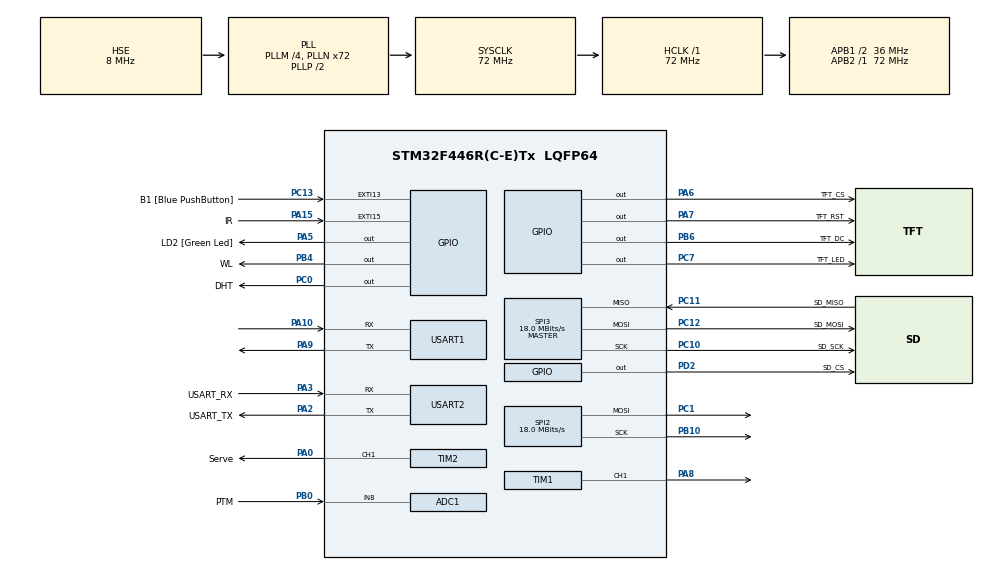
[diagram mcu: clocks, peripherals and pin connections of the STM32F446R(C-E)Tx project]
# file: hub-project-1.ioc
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ADC1.Channel-0\#ChannelRegularConversion=ADC_CHANNEL_8
ADC1.NbrOfConversionFlag=1
ADC1.Rank-0\#ChannelRegularConversion=1
ADC1.SamplingTime-0\#ChannelRegularConversion=ADC_SAMPLETIME_3CYCLES
ADC1.master=1
Dma.Request0=TIM1_CH1
Dma.TIM1_CH1.0.Direction=DMA_MEMORY_TO_PERIPH
Dma.TIM1_CH1.0.FIFOMode=DMA_FIFOMODE_DISABLE
Dma.TIM1_CH1.0.Instance=DMA2_Stream1
Dma.TIM1_CH1.0.MemDataAlignment=DMA_MDATAALIGN_HALFWORD
Dma.TIM1_CH1.0.MemInc=DMA_MINC_ENABLE
Dma.TIM1_CH1.0.Mode=DMA_NORMAL
Dma.TIM1_CH1.0.PeriphDataAlignment=DMA_PDATAALIGN_HALFWORD
Dma.TIM1_CH1.0.PeriphInc=DMA_PINC_DISABLE
Dma.TIM1_CH1.0.Priority=DMA_PRIORITY_LOW
FATFS._FS_REENTRANT=0
FATFS._MAX_SS=4096
FATFS._USE_LFN=2
FATFS._USE_MUTEX=1
FREERTOS.Tasks01=defaultTask,32,1024,StartDefaultTask,Default,NULL,Dynamic,NULL,NULL;ServerTask,8,1024,StartServerTask,Default,NULL,Dynamic,NULL,NULL;DHTTask,24,1024,StartDHT,Default,NULL,Dynamic,NULL,NULL;LCDTask,16,1024,StartLCDTask,Default,NULL,Static,LCDTaskBuffer,LCDTaskControlBlock
FREERTOS.configUSE_NEWLIB_REENTRANT=1
Infineon.AIROC-Wi-Fi-Bluetooth-STM32.1.5.1.COUNTRY_CUSTOM_ENABLE=false
Infineon.AIROC-Wi-Fi-Bluetooth-STM32.1.5.1.CYBSP_WIFI_WL_REG_ON=USART1
Infineon.AIROC-Wi-Fi-Bluetooth-STM32.1.5.1.CY_WIFI_COUNTRY=WHD_COUNTRY_UNITED_STATES
Mcu.Family=STM32F4
Mcu.Name=STM32F446R(C-E)Tx
Mcu.Package=LQFP64
NVIC.DMA2_Stream1_IRQn=true\:5\:0\:false\:false\:true\:true\:false\:true\:true
NVIC.EXTI15_10_IRQn=true\:5\:0\:false\:false\:true\:true\:true\:true\:true
NVIC.PriorityGroup=NVIC_PRIORITYGROUP_4
NVIC.TIM5_IRQn=true\:15\:0\:false\:false\:true\:false\:false\:true\:true
NVIC.TimeBase=TIM5_IRQn
NVIC.TimeBaseIP=TIM5
NVIC.USART1_IRQn=true\:5\:0\:false\:false\:true\:true\:true\:true\:true
NVIC.USART2_IRQn=true\:5\:0\:false\:false\:true\:true\:true\:true\:true
PA0-WKUP.GPIO_Label=Serve
PA0-WKUP.Signal=S_TIM2_CH1_ETR
PA10.Mode=Asynchronous
PA10.Signal=USART1_RX
PA13.GPIO_Label=TMS
PA13.Mode=Serial_Wire
PA13.Signal=SYS_JTMS-SWDIO
PA14.GPIO_Label=TCK
PA14.Mode=Serial_Wire
PA14.Signal=SYS_JTCK-SWCLK
PA15.GPIO_Label=IR
PA15.GPIO_ModeDefaultEXTI=GPIO_MODE_IT_FALLING
PA15.Signal=GPXTI15
PA2.GPIO_Label=USART_TX
PA2.Mode=Asynchronous
PA2.Signal=USART2_TX
PA3.GPIO_Label=USART_RX
PA3.Mode=Asynchronous
PA3.Signal=USART2_RX
PA5.GPIO_Label=LD2 [Green Led]
PA5.GPIO_PuPd=GPIO_NOPULL
PA5.Signal=GPIO_Output
PA6.GPIO_Label=TFT_CS
PA6.GPIO_PuPd=GPIO_PULLUP
PA6.Signal=GPIO_Output
PA7.GPIO_Label=TFT_RST
PA7.GPIO_PuPd=GPIO_PULLUP
PA7.Signal=GPIO_Output
PA8.Signal=S_TIM1_CH1
PA9.Mode=Asynchronous
PA9.Signal=USART1_TX
PB0.GPIO_Label=PTM
PB0.Signal=SharedAnalog_PB0
PB10.Mode=TX_Only_Simplex_Unidirect_Master
PB10.Signal=SPI2_SCK
PB3.GPIO_Label=SWO
PB3.Signal=SYS_JTDO-SWO
PB4.GPIO_Label=WL
PB4.GPIO_PuPd=GPIO_PULLDOWN
PB4.PinState=GPIO_PIN_SET
PB4.Signal=GPIO_Output
PB6.GPIO_Label=TFT_DC
PB6.GPIO_PuPd=GPIO_PULLUP
PB6.Signal=GPIO_Output
PC0.GPIO_Label=DHT
PC0.Signal=GPIO_Output
PC1.Mode=TX_Only_Simplex_Unidirect_Master
PC1.Signal=SPI2_MOSI
PC10.GPIO_Label=SD_SCK
PC10.GPIO_PuPd=GPIO_PULLUP
PC10.Mode=Full_Duplex_Master
PC10.Signal=SPI3_SCK
PC11.GPIO_Label=SD_MISO
PC11.GPIO_PuPd=GPIO_PULLUP
PC11.Mode=Full_Duplex_Master
PC11.Signal=SPI3_MISO
PC12.GPIO_Label=SD_MOSI
PC12.GPIO_PuPd=GPIO_PULLUP
PC12.Mode=Full_Duplex_Master
PC12.Signal=SPI3_MOSI
PC13.GPIO_Label=B1 [Blue PushButton]
PC13.GPIO_ModeDefaultEXTI=GPIO_MODE_IT_FALLING
PC13.GPIO_PuPd=GPIO_NOPULL
PC13.Signal=GPXTI13
PC14-OSC32_IN.Mode=LSE-External-Oscillator
PC14-OSC32_IN.Signal=RCC_OSC32_IN
PC15-OSC32_OUT.Mode=LSE-External-Oscillator
PC15-OSC32_OUT.Signal=RCC_OSC32_OUT
PC7.GPIO_Label=TFT_LED
PC7.GPIO_PuPd=GPIO_PULLUP
PC7.Signal=GPIO_Output
PD2.GPIO_Label=SD_CS
PD2.GPIO_PuPd=GPIO_PULLUP
PD2.Signal=GPIO_Output
PH0-OSC_IN.Mode=HSE-External-Clock-Source
PH0-OSC_IN.Signal=RCC_OSC_IN
PH1-OSC_OUT.Mode=HSE-External-Clock-Source
PH1-OSC_OUT.Signal=RCC_OSC_OUT
ProjectManager.HeapSize=0x200
ProjectManager.StackSize=0x400
ProjectManager.TargetToolchain=STM32CubeIDE
RCC.48MHZClocksFreq_Value=84000000
RCC.AHBFreq_Value=72000000
RCC.APB1CLKDivider=RCC_HCLK_DIV2
RCC.APB1Freq_Value=36000000
RCC.APB1TimFreq_Value=72000000
RCC.APB2Freq_Value=72000000
RCC.APB2TimFreq_Value=72000000
RCC.CortexFreq_Value=72000000
RCC.FLatency-AdvancedSettings=FLASH_LATENCY_2
RCC.HCLKFreq_Value=72000000
RCC.HSE_VALUE=8000000
RCC.HSI_VALUE=16000000
RCC.PLLM=4
RCC.PLLN=72
RCC.PLLSourceVirtual=RCC_PLLSOURCE_HSE
RCC.SYSCLKFreq_VALUE=72000000
RCC.SYSCLKSource=RCC_SYSCLKSOURCE_PLLCLK
RCC.USBFreq_Value=72000000
RCC.VCOOutputFreq_Value=144000000
SH.S_TIM1_CH1.0=TIM1_CH1,PWM Generation1 CH1
SH.S_TIM2_CH1_ETR.0=TIM2_CH1,PWM Generation1 CH1
SH.SharedAnalog_PB0.0=GPIO_Analog
SH.SharedAnalog_PB0.1=ADC1_IN8,IN8
SPI2.BaudRatePrescaler=SPI_BAUDRATEPRESCALER_2
SPI2.CalculateBaudRate=18.0 MBits/s
SPI2.Direction=SPI_DIRECTION_2LINES
SPI2.Mode=SPI_MODE_MASTER
SPI2.VirtualType=VM_MASTER
SPI3.BaudRatePrescaler=SPI_BAUDRATEPRESCALER_2
SPI3.CLKPhase=SPI_PHASE_1EDGE
SPI3.CLKPolarity=SPI_POLARITY_LOW
SPI3.CalculateBaudRate=18.0 MBits/s
SPI3.Direction=SPI_DIRECTION_2LINES
SPI3.Mode=SPI_MODE_MASTER
SPI3.VirtualType=VM_MASTER
TIM1.Channel-PWM\ Generation1\ CH1=TIM_CHANNEL_1
TIM1.Period=90-1
TIM2.AutoReloadPreload=TIM_AUTORELOAD_PRELOAD_DISABLE
TIM2.Channel-PWM\ Generation1\ CH1=TIM_CHANNEL_1
TIM2.Period=1000
TIM2.Prescaler=1440
TIM4.Prescaler=71
TIM6.Prescaler=7200-1
TIM7.Prescaler=72-1
USART1.VirtualMode=VM_ASYNC
USART2.VirtualMode=VM_ASYNC
VP_FATFS_VS_Generic.Mode=User_defined
VP_FREERTOS_VS_CMSIS_V2.Mode=CMSIS_V2
VP_SYS_VS_tim5.Mode=TIM5
VP_TIM1_VS_ClockSourceINT.Mode=Internal
VP_TIM2_VS_ClockSourceINT.Mode=Internal
VP_TIM4_VS_ClockSourceINT.Mode=Internal
VP_TIM6_VS_ClockSourceINT.Mode=Enable_Timer
VP_TIM7_VS_ClockSourceINT.Mode=Enable_Timer
board=NUCLEO-F446RE

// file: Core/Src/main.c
/* USER CODE BEGIN Header */
/**
  ******************************************************************************
  * @file           : main.c
  * @brief          : Main program body
  ******************************************************************************
  * @attention
  *
  * Copyright (c) 2024 STMicroelectronics.
  * All rights reserved.
  *
  * This software is licensed under terms that can be found in the LICENSE file
  * in the root directory of this software component.
  * If no LICENSE file comes with this software, it is provided AS-IS.
  *
  ******************************************************************************
  */
/* USER CODE END Header */
#include "main.h"
#include "cmsis_os.h"
#include "fatfs.h"

/* USER CODE BEGIN Includes */
#include <stdio.h>
#include <stdlib.h>
#include <semphr.h>
#include <string.h>
#include <stdarg.h>

#include "dht22.h"
#include "WS2812B.h"
#include "st7735.h"
#include "fonts.h"
#include "qrcodegen.h"
#include "UartRingbuffer_multi.h"
#include "NEC_Decode.h"
#include "images.h"
#include "secrets.h"
/* USER CODE END Includes */

typedef StaticTask_t osStaticThreadDef_t;

/* USER CODE BEGIN PD */
#define PRINT_LOG(fmt, ...) {strcpy(buf, printf_(fmt, __VA_ARGS__)); f_puts(buf, &USERFile);}
/* USER CODE END PD */

ADC_HandleTypeDef hadc1;

SPI_HandleTypeDef hspi2;
SPI_HandleTypeDef hspi3;

TIM_HandleTypeDef htim1;
TIM_HandleTypeDef htim2;
TIM_HandleTypeDef htim4;
TIM_HandleTypeDef htim6;
TIM_HandleTypeDef htim7;
DMA_HandleTypeDef hdma_tim1_ch1;

UART_HandleTypeDef huart1;
UART_HandleTypeDef huart2;

/* Definitions for defaultTask */
osThreadId_t defaultTaskHandle;
const osThreadAttr_t defaultTask_attributes = {
  .name = "defaultTask",
  .stack_size = 1024 * 4,
  .priority = (osPriority_t) osPriorityAboveNormal,
};
/* Definitions for ServerTask */
osThreadId_t ServerTaskHandle;
const osThreadAttr_t ServerTask_attributes = {
  .name = "ServerTask",
  .stack_size = 1024 * 4,
  .priority = (osPriority_t) osPriorityLow,
};
/* Definitions for DHTTask */
osThreadId_t DHTTaskHandle;
const osThreadAttr_t DHTTask_attributes = {
  .name = "DHTTask",
  .stack_size = 1024 * 4,
  .priority = (osPriority_t) osPriorityNormal,
};
/* Definitions for LCDTask */
osThreadId_t LCDTaskHandle;
uint32_t LCDTaskBuffer[ 1024 ];
osStaticThreadDef_t LCDTaskControlBlock;
const osThreadAttr_t LCDTask_attributes = {
  .name = "LCDTask",
  .cb_mem = &LCDTaskControlBlock,
  .cb_size = sizeof(LCDTaskControlBlock),
  .stack_mem = &LCDTaskBuffer[0],
  .stack_size = sizeof(LCDTaskBuffer),
  .priority = (osPriority_t) osPriorityBelowNormal,
};
/* USER CODE BEGIN PV */
#define ESP_MODE 0

uint8_t LED_Data[LED_MAX][4];
uint8_t LED_Mod[LED_MAX][4];

int datasentflag = 0;

uint16_t pwmData[(24*LED_MAX)+50];

bool screen_state;

bool led = false;
char buf[256];

SemaphoreHandle_t sem1;

float tCelsius, tFahrenheit, RH;

NEC nec;
bool nec_ready = false;

#define QR_TEXT_COUNT 3
uint8_t qr_text_counter = 0;
const char* qr_texts[QR_TEXT_COUNT] = {IP,
#if ESP_MODE == 2
  WIFI_CON
#else
  HOTSPOT_CON
#endif
};
uint8_t qrcode[qrcodegen_BUFFER_LEN_MAX];
uint8_t tempBuffer[qrcodegen_BUFFER_LEN_MAX];
/* USER CODE END PV */

void SystemClock_Config(void);
static void MX_GPIO_Init(void);
static void MX_DMA_Init(void);
static void MX_USART2_UART_Init(void);
static void MX_USART1_UART_Init(void);
static void MX_TIM1_Init(void);
static void MX_SPI2_Init(void);
static void MX_TIM4_Init(void);
static void MX_TIM6_Init(void);
static void MX_TIM7_Init(void);
static void MX_ADC1_Init(void);
static void MX_TIM2_Init(void);
static void MX_SPI3_Init(void);
void StartDefaultTask(void *argument);
void StartServerTask(void *argument);
void StartDHT(void *argument);
void StartLCDTask(void *argument);

/* USER CODE BEGIN 0 */
const char* printf_(const char *fmt, ...) {
  static char buffer[256];
  va_list args;
  va_start(args, fmt);
  vsnprintf(buffer, sizeof(buffer), fmt, args);
  va_end(args);
  int len = strlen(buffer);
  HAL_UART_Transmit(&huart2, (uint8_t*)buffer, len, -1);
  return buffer;
}

void drawSquare(uint8_t x, uint8_t y, uint8_t _x, uint8_t _y, uint8_t multiplier, bool state) {
  for(int i = 0; i<multiplier; i++) {
    for(int j = 0; j<multiplier; j++) {
      if(!state) ST7735_DrawPixel(_x + x * multiplier + j, _y + y * multiplier + i, ST7735_WHITE);
    }
  }
}

static void printQr(uint8_t _x, uint8_t _y, const uint8_t qrcode[], uint8_t multiplier) {
  int size = qrcodegen_getSize(qrcode);
  for (int y = 0; y < size+2; y++) {
    for (int x = 0; x < size+2; x++) {
      bool state_cond = qrcodegen_getModule(qrcode, x-1, y-1);
      drawSquare(x, y, _x, _y, multiplier, state_cond);
    }
  }
}

void textToQrCode(uint8_t x, uint8_t y, const char* text, uint8_t multiplier) {
  enum qrcodegen_Ecc errCorLvl = qrcodegen_Ecc_LOW;  // Error correction level

  // Make and print the QR Code symbol
  bool ok = qrcodegen_encodeText(text, tempBuffer, qrcode, errCorLvl,
    qrcodegen_VERSION_MIN, qrcodegen_VERSION_MAX, qrcodegen_Mask_AUTO, true);
  if (ok)
    printQr(x, y, qrcode, multiplier);
}

void IR_SingnalReceive();

void HAL_GPIO_EXTI_Callback(uint16_t GPIO_Pin)
{
  if(GPIO_Pin == B1_Pin) {
    screen_state = !screen_state;
    if(screen_state) {
      ST7735_Backlight_On();
      ST7735_FillRectangle(0, 64, 128, 64, ST7735_BLACK);
      // textToQrCode(16, 64, qr_texts[qr_text_counter], 2);
    }
    else ST7735_Backlight_Off();
    printf_("Screen change state\n\r");
  }
}

void HAL_TIM_PWM_PulseFinishedCallback(TIM_HandleTypeDef *htim) {
  if(htim == &htim1) {
    HAL_TIMEx_PWMN_Stop_DMA(htim, TIM_CHANNEL_1);
    datasentflag = 1;
  }
}

void DelayMS(uint16_t ms) {
  __HAL_TIM_SetCounter(&htim6, 0);
  HAL_TIM_Base_Start(&htim6);
  while (__HAL_TIM_GetCounter(&htim6) < ms*10);
  HAL_TIM_Base_Stop(&htim6);
}

void DelayUS(uint16_t us) {
  __HAL_TIM_SetCounter(&htim7, 0);
  HAL_TIM_Base_Start(&htim7);
  while (__HAL_TIM_GetCounter(&htim7) < us);
  HAL_TIM_Base_Stop(&htim7);
}

void NEC_Handle() {
  char nec_buf[100];
  if(nec_ready) {
    uint8_t cmd = NEC_GetCommand(&nec);
    ST7735_FillRectangle(0, 40, 127, 17, ST7735_BLACK);
    switch (cmd) {
      default:
        snprintf(nec_buf, 100, "cmd: %3d", NEC_GetCommand(&nec));
        ST7735_WriteString(0, 40, nec_buf, Font_11x18, ST7735_GREEN, ST7735_BLACK);
        break;
      case 90:
        if(qr_text_counter == 0) qr_text_counter = QR_TEXT_COUNT-1;
        else qr_text_counter--;
        ST7735_FillRectangle(0, 64, 127, 63, ST7735_BLACK);
        if(qr_text_counter != 0) textToQrCode(16, 64, qr_texts[qr_text_counter-1], 2);
        break;
      case 91:
        qr_text_counter++;
        if(qr_text_counter == QR_TEXT_COUNT) qr_text_counter = 0;
        ST7735_FillRectangle(0, 64, 127, 63, ST7735_BLACK);
        if(qr_text_counter != 0) textToQrCode(16, 64, qr_texts[qr_text_counter-1], 2);
        break;
    }
    DelayMS(200);
    nec_ready = false;
  }
}

void adc_to_serve(uint16_t val) {
  static uint16_t last = 0;
  static bool first = true;
  if(first) {
    htim2.Instance->CCR1 = 25 + (val > 4000 ? 4000 : val) / 40;
    first = false;
  }
  if(abs(last - val) > 300) {
    htim2.Instance->CCR1 = 25 + (val > 4000 ? 4000 : val) / 40;
    last = val;
  }
}

const uint8_t* get_tardis(int p) {
  if(p < 0 || p > 5) return NULL;
  switch (p) {
    default:
    case 0:
      return tardis_64_1;
    case 1:
      return tardis_64_2;
    case 2:
      return tardis_64_3;
    case 3:
      return tardis_64_4;
    case 4:
      return tardis_64_5;
    case 5:
      return tardis_64_6;
  }
}

void set_tardis() {
  static bool forward = true;
  static int pos = -1;
  if(forward) {
    pos++;
  }
  else {
    pos--;
  }
  auto tardis = get_tardis(pos);
  if(tardis) ST7735_DrawImage(16, 64, TARDIS_64_W, TARDIS_64_H, tardis);
  if(pos == 5 && forward) {
    forward = !forward;
    pos++;
  }
  else if(pos == 0 && !forward) {
    forward = !forward;
    pos--;
  }
}
/* USER CODE END 0 */

int main(void)
{

  /* MCU Configuration--------------------------------------------------------*/

  /* Reset of all peripherals, Initializes the Flash interface and the Systick. */
  HAL_Init();

  /* Configure the system clock */
  SystemClock_Config();

  /* Initialize all configured peripherals */
  MX_GPIO_Init();
  MX_DMA_Init();
  MX_USART2_UART_Init();
  MX_USART1_UART_Init();
  MX_TIM1_Init();
  MX_SPI2_Init();
  MX_TIM4_Init();
  MX_TIM6_Init();
  MX_TIM7_Init();
  MX_ADC1_Init();
  MX_TIM2_Init();
  MX_FATFS_Init();
  MX_SPI3_Init();
  /* USER CODE BEGIN 2 */
  DHT_Init();
  printf_("\n\rController started\n\r");
#if ESP_MODE
  HAL_GPIO_WritePin(WL_GPIO_Port, WL_Pin, GPIO_PIN_SET);
#endif
#if ESP_MODE == 1
  ESP_Init_Server(WIFI_NAME, WIFI_PASS);
#elif ESP_MODE == 2
  ESP_Init_SoftAP(HOTSPOT_NAME, HOTSPOT_PASS);
#endif
  ST7735_Init();
  // Set_LED(0, 0, 0, 0);
  // Set_LED(1, 0, 0, 0);
  // Set_LED(2, 0, 0, 0);
  // Set_LED(59, 0, 0, 0);
  // Set_Brightness(2);
  // WS2812B_Send(&htim1);
  // PC_println("LED is on");

  ST7735_Backlight_On();
  ST7735_FillScreen(ST7735_BLACK);
  screen_state = true;
  // textToQrCode(16, 64, qr_texts[0], 2);
  set_tardis();
  set_tardis();
  set_tardis();
  printf_("ST7735S is on\n\r");

  NEC_Init(&nec);

  HAL_TIM_PWM_Start(&htim2, TIM_CHANNEL_1);

  FRESULT res;
  res = f_mount(&USERFatFS, "", 1);
  if(res) printf_("mount: %d\n\r", res);
  else {
    res = f_open(&USERFile, "/test.txt", FA_CREATE_ALWAYS | FA_WRITE);
    if(res) printf_("create: %d\n\r", res);
    else {
      char text[] = "test creation\n\r";
      f_puts(text, &USERFile);
      PRINT_LOG("Logging: %s", "hi!");
      printf_("\n\r");
      f_close(&USERFile);
    }
    res = f_open(&USERFile, "/test.txt", FA_READ);
    if(res) printf_("open: %d\n\r", res);
    else {
      const int fsize = f_size(&USERFile)+1;
      char text[fsize];
      uint32_t size;
      f_read(&USERFile, text, fsize, &size);
      f_close(&USERFile);
      text[size] = '\0';
      printf_("text: %s\n\r", text);
    }

    f_mount(NULL, "", 0);
  }
  /* USER CODE END 2 */

  /* Init scheduler */
  osKernelInitialize();

  /* USER CODE BEGIN RTOS_MUTEX */
  /* add mutexes, ... */
  HAL_Delay(100);
  sem1 = xSemaphoreCreateMutex();
  /* USER CODE END RTOS_MUTEX */

  /* Create the thread(s) */
  /* creation of defaultTask */
  defaultTaskHandle = osThreadNew(StartDefaultTask, NULL, &defaultTask_attributes);

  /* creation of ServerTask */
  ServerTaskHandle = osThreadNew(StartServerTask, NULL, &ServerTask_attributes);

  /* creation of DHTTask */
  DHTTaskHandle = osThreadNew(StartDHT, NULL, &DHTTask_attributes);

  /* creation of LCDTask */
  LCDTaskHandle = osThreadNew(StartLCDTask, NULL, &LCDTask_attributes);

  /* USER CODE BEGIN RTOS_THREADS */
  if(!defaultTaskHandle) printf_("default is null\n\r");
  if(!ServerTaskHandle) printf_("server is null\n\r");
  if(!DHTTaskHandle) printf_("dht is null\n\r");
  if(!LCDTaskHandle) printf_("lcd is null\n\r");
  /* add threads, ... */
  /* USER CODE END RTOS_THREADS */

  /* Start scheduler */
  osKernelStart();

  /* We should never get here as control is now taken by the scheduler */
  /* Infinite loop */
  while (1) {

  }
}

void SystemClock_Config(void)
{
  RCC_OscInitTypeDef RCC_OscInitStruct = {0};
  RCC_ClkInitTypeDef RCC_ClkInitStruct = {0};

  /** Configure the main internal regulator output voltage
  */
  __HAL_RCC_PWR_CLK_ENABLE();
  __HAL_PWR_VOLTAGESCALING_CONFIG(PWR_REGULATOR_VOLTAGE_SCALE3);

  /** Initializes the RCC Oscillators according to the specified parameters
  * in the RCC_OscInitTypeDef structure.
  */
  RCC_OscInitStruct.OscillatorType = RCC_OSCILLATORTYPE_HSE;
  RCC_OscInitStruct.HSEState = RCC_HSE_BYPASS;
  RCC_OscInitStruct.PLL.PLLState = RCC_PLL_ON;
  RCC_OscInitStruct.PLL.PLLSource = RCC_PLLSOURCE_HSE;
  RCC_OscInitStruct.PLL.PLLM = 4;
  RCC_OscInitStruct.PLL.PLLN = 72;
  RCC_OscInitStruct.PLL.PLLP = RCC_PLLP_DIV2;
  RCC_OscInitStruct.PLL.PLLQ = 2;
  RCC_OscInitStruct.PLL.PLLR = 2;
  if (HAL_RCC_OscConfig(&RCC_OscInitStruct) != HAL_OK)
  {
    Error_Handler();
  }

  /** Initializes the CPU, AHB and APB buses clocks
  */
  RCC_ClkInitStruct.ClockType = RCC_CLOCKTYPE_HCLK|RCC_CLOCKTYPE_SYSCLK
                              |RCC_CLOCKTYPE_PCLK1|RCC_CLOCKTYPE_PCLK2;
  RCC_ClkInitStruct.SYSCLKSource = RCC_SYSCLKSOURCE_PLLCLK;
  RCC_ClkInitStruct.AHBCLKDivider = RCC_SYSCLK_DIV1;
  RCC_ClkInitStruct.APB1CLKDivider = RCC_HCLK_DIV2;
  RCC_ClkInitStruct.APB2CLKDivider = RCC_HCLK_DIV1;

  if (HAL_RCC_ClockConfig(&RCC_ClkInitStruct, FLASH_LATENCY_2) != HAL_OK)
  {
    Error_Handler();
  }
}

static void MX_ADC1_Init(void)
{

  ADC_ChannelConfTypeDef sConfig = {0};

  /** Configure the global features of the ADC (Clock, Resolution, Data Alignment and number of conversion)
  */
  hadc1.Instance = ADC1;
  hadc1.Init.ClockPrescaler = ADC_CLOCK_SYNC_PCLK_DIV2;
  hadc1.Init.Resolution = ADC_RESOLUTION_12B;
  hadc1.Init.ScanConvMode = DISABLE;
  hadc1.Init.ContinuousConvMode = DISABLE;
  hadc1.Init.DiscontinuousConvMode = DISABLE;
  hadc1.Init.ExternalTrigConvEdge = ADC_EXTERNALTRIGCONVEDGE_NONE;
  hadc1.Init.ExternalTrigConv = ADC_SOFTWARE_START;
  hadc1.Init.DataAlign = ADC_DATAALIGN_RIGHT;
  hadc1.Init.NbrOfConversion = 1;
  hadc1.Init.DMAContinuousRequests = DISABLE;
  hadc1.Init.EOCSelection = ADC_EOC_SINGLE_CONV;
  if (HAL_ADC_Init(&hadc1) != HAL_OK)
  {
    Error_Handler();
  }

  /** Configure for the selected ADC regular channel its corresponding rank in the sequencer and its sample time.
  */
  sConfig.Channel = ADC_CHANNEL_8;
  sConfig.Rank = 1;
  sConfig.SamplingTime = ADC_SAMPLETIME_3CYCLES;
  if (HAL_ADC_ConfigChannel(&hadc1, &sConfig) != HAL_OK)
  {
    Error_Handler();
  }

}

static void MX_SPI2_Init(void)
{

  /* SPI2 parameter configuration*/
  hspi2.Instance = SPI2;
  hspi2.Init.Mode = SPI_MODE_MASTER;
  hspi2.Init.Direction = SPI_DIRECTION_2LINES;
  hspi2.Init.DataSize = SPI_DATASIZE_8BIT;
  hspi2.Init.CLKPolarity = SPI_POLARITY_LOW;
  hspi2.Init.CLKPhase = SPI_PHASE_1EDGE;
  hspi2.Init.NSS = SPI_NSS_SOFT;
  hspi2.Init.BaudRatePrescaler = SPI_BAUDRATEPRESCALER_2;
  hspi2.Init.FirstBit = SPI_FIRSTBIT_MSB;
  hspi2.Init.TIMode = SPI_TIMODE_DISABLE;
  hspi2.Init.CRCCalculation = SPI_CRCCALCULATION_DISABLE;
  hspi2.Init.CRCPolynomial = 10;
  if (HAL_SPI_Init(&hspi2) != HAL_OK)
  {
    Error_Handler();
  }

}

static void MX_SPI3_Init(void)
{

  /* SPI3 parameter configuration*/
  hspi3.Instance = SPI3;
  hspi3.Init.Mode = SPI_MODE_MASTER;
  hspi3.Init.Direction = SPI_DIRECTION_2LINES;
  hspi3.Init.DataSize = SPI_DATASIZE_8BIT;
  hspi3.Init.CLKPolarity = SPI_POLARITY_LOW;
  hspi3.Init.CLKPhase = SPI_PHASE_1EDGE;
  hspi3.Init.NSS = SPI_NSS_SOFT;
  hspi3.Init.BaudRatePrescaler = SPI_BAUDRATEPRESCALER_2;
  hspi3.Init.FirstBit = SPI_FIRSTBIT_MSB;
  hspi3.Init.TIMode = SPI_TIMODE_DISABLE;
  hspi3.Init.CRCCalculation = SPI_CRCCALCULATION_DISABLE;
  hspi3.Init.CRCPolynomial = 10;
  if (HAL_SPI_Init(&hspi3) != HAL_OK)
  {
    Error_Handler();
  }

}

static void MX_TIM1_Init(void)
{

  TIM_ClockConfigTypeDef sClockSourceConfig = {0};
  TIM_MasterConfigTypeDef sMasterConfig = {0};
  TIM_OC_InitTypeDef sConfigOC = {0};
  TIM_BreakDeadTimeConfigTypeDef sBreakDeadTimeConfig = {0};

  htim1.Instance = TIM1;
  htim1.Init.Prescaler = 0;
  htim1.Init.CounterMode = TIM_COUNTERMODE_UP;
  htim1.Init.Period = 90-1;
  htim1.Init.ClockDivision = TIM_CLOCKDIVISION_DIV1;
  htim1.Init.RepetitionCounter = 0;
  htim1.Init.AutoReloadPreload = TIM_AUTORELOAD_PRELOAD_DISABLE;
  if (HAL_TIM_Base_Init(&htim1) != HAL_OK)
  {
    Error_Handler();
  }
  sClockSourceConfig.ClockSource = TIM_CLOCKSOURCE_INTERNAL;
  if (HAL_TIM_ConfigClockSource(&htim1, &sClockSourceConfig) != HAL_OK)
  {
    Error_Handler();
  }
  if (HAL_TIM_PWM_Init(&htim1) != HAL_OK)
  {
    Error_Handler();
  }
  sMasterConfig.MasterOutputTrigger = TIM_TRGO_RESET;
  sMasterConfig.MasterSlaveMode = TIM_MASTERSLAVEMODE_DISABLE;
  if (HAL_TIMEx_MasterConfigSynchronization(&htim1, &sMasterConfig) != HAL_OK)
  {
    Error_Handler();
  }
  sConfigOC.OCMode = TIM_OCMODE_PWM1;
  sConfigOC.Pulse = 0;
  sConfigOC.OCPolarity = TIM_OCPOLARITY_HIGH;
  sConfigOC.OCNPolarity = TIM_OCNPOLARITY_HIGH;
  sConfigOC.OCFastMode = TIM_OCFAST_DISABLE;
  sConfigOC.OCIdleState = TIM_OCIDLESTATE_RESET;
  sConfigOC.OCNIdleState = TIM_OCNIDLESTATE_RESET;
  if (HAL_TIM_PWM_ConfigChannel(&htim1, &sConfigOC, TIM_CHANNEL_1) != HAL_OK)
  {
    Error_Handler();
  }
  sBreakDeadTimeConfig.OffStateRunMode = TIM_OSSR_DISABLE;
  sBreakDeadTimeConfig.OffStateIDLEMode = TIM_OSSI_DISABLE;
  sBreakDeadTimeConfig.LockLevel = TIM_LOCKLEVEL_OFF;
  sBreakDeadTimeConfig.DeadTime = 0;
  sBreakDeadTimeConfig.BreakState = TIM_BREAK_DISABLE;
  sBreakDeadTimeConfig.BreakPolarity = TIM_BREAKPOLARITY_HIGH;
  sBreakDeadTimeConfig.AutomaticOutput = TIM_AUTOMATICOUTPUT_DISABLE;
  if (HAL_TIMEx_ConfigBreakDeadTime(&htim1, &sBreakDeadTimeConfig) != HAL_OK)
  {
    Error_Handler();
  }
  HAL_TIM_MspPostInit(&htim1);

}

static void MX_TIM2_Init(void)
{

  TIM_ClockConfigTypeDef sClockSourceConfig = {0};
  TIM_MasterConfigTypeDef sMasterConfig = {0};
  TIM_OC_InitTypeDef sConfigOC = {0};

  htim2.Instance = TIM2;
  htim2.Init.Prescaler = 1440;
  htim2.Init.CounterMode = TIM_COUNTERMODE_UP;
  htim2.Init.Period = 1000;
  htim2.Init.ClockDivision = TIM_CLOCKDIVISION_DIV1;
  htim2.Init.AutoReloadPreload = TIM_AUTORELOAD_PRELOAD_DISABLE;
  if (HAL_TIM_Base_Init(&htim2) != HAL_OK)
  {
    Error_Handler();
  }
  sClockSourceConfig.ClockSource = TIM_CLOCKSOURCE_INTERNAL;
  if (HAL_TIM_ConfigClockSource(&htim2, &sClockSourceConfig) != HAL_OK)
  {
    Error_Handler();
  }
  if (HAL_TIM_PWM_Init(&htim2) != HAL_OK)
  {
    Error_Handler();
  }
  sMasterConfig.MasterOutputTrigger = TIM_TRGO_RESET;
  sMasterConfig.MasterSlaveMode = TIM_MASTERSLAVEMODE_DISABLE;
  if (HAL_TIMEx_MasterConfigSynchronization(&htim2, &sMasterConfig) != HAL_OK)
  {
    Error_Handler();
  }
  sConfigOC.OCMode = TIM_OCMODE_PWM1;
  sConfigOC.Pulse = 0;
  sConfigOC.OCPolarity = TIM_OCPOLARITY_HIGH;
  sConfigOC.OCFastMode = TIM_OCFAST_DISABLE;
  if (HAL_TIM_PWM_ConfigChannel(&htim2, &sConfigOC, TIM_CHANNEL_1) != HAL_OK)
  {
    Error_Handler();
  }
  HAL_TIM_MspPostInit(&htim2);

}

static void MX_TIM4_Init(void)
{

  TIM_ClockConfigTypeDef sClockSourceConfig = {0};
  TIM_MasterConfigTypeDef sMasterConfig = {0};

  htim4.Instance = TIM4;
  htim4.Init.Prescaler = 71;
  htim4.Init.CounterMode = TIM_COUNTERMODE_UP;
  htim4.Init.Period = 65535;
  htim4.Init.ClockDivision = TIM_CLOCKDIVISION_DIV1;
  htim4.Init.AutoReloadPreload = TIM_AUTORELOAD_PRELOAD_DISABLE;
  if (HAL_TIM_Base_Init(&htim4) != HAL_OK)
  {
    Error_Handler();
  }
  sClockSourceConfig.ClockSource = TIM_CLOCKSOURCE_INTERNAL;
  if (HAL_TIM_ConfigClockSource(&htim4, &sClockSourceConfig) != HAL_OK)
  {
    Error_Handler();
  }
  sMasterConfig.MasterOutputTrigger = TIM_TRGO_RESET;
  sMasterConfig.MasterSlaveMode = TIM_MASTERSLAVEMODE_DISABLE;
  if (HAL_TIMEx_MasterConfigSynchronization(&htim4, &sMasterConfig) != HAL_OK)
  {
    Error_Handler();
  }

}

static void MX_TIM6_Init(void)
{

  TIM_MasterConfigTypeDef sMasterConfig = {0};

  htim6.Instance = TIM6;
  htim6.Init.Prescaler = 7200-1;
  htim6.Init.CounterMode = TIM_COUNTERMODE_UP;
  htim6.Init.Period = 65535;
  htim6.Init.AutoReloadPreload = TIM_AUTORELOAD_PRELOAD_DISABLE;
  if (HAL_TIM_Base_Init(&htim6) != HAL_OK)
  {
    Error_Handler();
  }
  sMasterConfig.MasterOutputTrigger = TIM_TRGO_RESET;
  sMasterConfig.MasterSlaveMode = TIM_MASTERSLAVEMODE_DISABLE;
  if (HAL_TIMEx_MasterConfigSynchronization(&htim6, &sMasterConfig) != HAL_OK)
  {
    Error_Handler();
  }

}

static void MX_TIM7_Init(void)
{

  TIM_MasterConfigTypeDef sMasterConfig = {0};

  htim7.Instance = TIM7;
  htim7.Init.Prescaler = 72-1;
  htim7.Init.CounterMode = TIM_COUNTERMODE_UP;
  htim7.Init.Period = 65535;
  htim7.Init.AutoReloadPreload = TIM_AUTORELOAD_PRELOAD_DISABLE;
  if (HAL_TIM_Base_Init(&htim7) != HAL_OK)
  {
    Error_Handler();
  }
  sMasterConfig.MasterOutputTrigger = TIM_TRGO_RESET;
  sMasterConfig.MasterSlaveMode = TIM_MASTERSLAVEMODE_DISABLE;
  if (HAL_TIMEx_MasterConfigSynchronization(&htim7, &sMasterConfig) != HAL_OK)
  {
    Error_Handler();
  }

}

static void MX_USART1_UART_Init(void)
{

  huart1.Instance = USART1;
  huart1.Init.BaudRate = 115200;
  huart1.Init.WordLength = UART_WORDLENGTH_8B;
  huart1.Init.StopBits = UART_STOPBITS_1;
  huart1.Init.Parity = UART_PARITY_NONE;
  huart1.Init.Mode = UART_MODE_TX_RX;
  huart1.Init.HwFlowCtl = UART_HWCONTROL_NONE;
  huart1.Init.OverSampling = UART_OVERSAMPLING_16;
  if (HAL_UART_Init(&huart1) != HAL_OK)
  {
    Error_Handler();
  }

}

static void MX_USART2_UART_Init(void)
{

  huart2.Instance = USART2;
  huart2.Init.BaudRate = 115200;
  huart2.Init.WordLength = UART_WORDLENGTH_8B;
  huart2.Init.StopBits = UART_STOPBITS_1;
  huart2.Init.Parity = UART_PARITY_NONE;
  huart2.Init.Mode = UART_MODE_TX_RX;
  huart2.Init.HwFlowCtl = UART_HWCONTROL_NONE;
  huart2.Init.OverSampling = UART_OVERSAMPLING_16;
  if (HAL_UART_Init(&huart2) != HAL_OK)
  {
    Error_Handler();
  }

}

static void MX_DMA_Init(void)
{

  /* DMA controller clock enable */
  __HAL_RCC_DMA2_CLK_ENABLE();

  /* DMA interrupt init */
  /* DMA2_Stream1_IRQn interrupt configuration */
  HAL_NVIC_SetPriority(DMA2_Stream1_IRQn, 5, 0);
  HAL_NVIC_EnableIRQ(DMA2_Stream1_IRQn);

}

static void MX_GPIO_Init(void)
{
  GPIO_InitTypeDef GPIO_InitStruct = {0};

  /* GPIO Ports Clock Enable */
  __HAL_RCC_GPIOC_CLK_ENABLE();
  __HAL_RCC_GPIOH_CLK_ENABLE();
  __HAL_RCC_GPIOA_CLK_ENABLE();
  __HAL_RCC_GPIOB_CLK_ENABLE();
  __HAL_RCC_GPIOD_CLK_ENABLE();

  /*Configure GPIO pin Output Level */
  HAL_GPIO_WritePin(GPIOC, DHT_Pin|TFT_LED_Pin, GPIO_PIN_RESET);

  /*Configure GPIO pin Output Level */
  HAL_GPIO_WritePin(GPIOA, LD2_Pin|TFT_CS_Pin|TFT_RST_Pin, GPIO_PIN_RESET);

  /*Configure GPIO pin Output Level */
  HAL_GPIO_WritePin(SD_CS_GPIO_Port, SD_CS_Pin, GPIO_PIN_RESET);

  /*Configure GPIO pin Output Level */
  HAL_GPIO_WritePin(WL_GPIO_Port, WL_Pin, GPIO_PIN_SET);

  /*Configure GPIO pin Output Level */
  HAL_GPIO_WritePin(TFT_DC_GPIO_Port, TFT_DC_Pin, GPIO_PIN_RESET);

  /*Configure GPIO pin : B1_Pin */
  GPIO_InitStruct.Pin = B1_Pin;
  GPIO_InitStruct.Mode = GPIO_MODE_IT_FALLING;
  GPIO_InitStruct.Pull = GPIO_NOPULL;
  HAL_GPIO_Init(B1_GPIO_Port, &GPIO_InitStruct);

  /*Configure GPIO pin : DHT_Pin */
  GPIO_InitStruct.Pin = DHT_Pin;
  GPIO_InitStruct.Mode = GPIO_MODE_OUTPUT_PP;
  GPIO_InitStruct.Pull = GPIO_NOPULL;
  GPIO_InitStruct.Speed = GPIO_SPEED_FREQ_LOW;
  HAL_GPIO_Init(DHT_GPIO_Port, &GPIO_InitStruct);

  /*Configure GPIO pin : LD2_Pin */
  GPIO_InitStruct.Pin = LD2_Pin;
  GPIO_InitStruct.Mode = GPIO_MODE_OUTPUT_PP;
  GPIO_InitStruct.Pull = GPIO_NOPULL;
  GPIO_InitStruct.Speed = GPIO_SPEED_FREQ_LOW;
  HAL_GPIO_Init(LD2_GPIO_Port, &GPIO_InitStruct);

  /*Configure GPIO pins : TFT_CS_Pin TFT_RST_Pin */
  GPIO_InitStruct.Pin = TFT_CS_Pin|TFT_RST_Pin;
  GPIO_InitStruct.Mode = GPIO_MODE_OUTPUT_PP;
  GPIO_InitStruct.Pull = GPIO_PULLUP;
  GPIO_InitStruct.Speed = GPIO_SPEED_FREQ_LOW;
  HAL_GPIO_Init(GPIOA, &GPIO_InitStruct);

  /*Configure GPIO pin : TFT_LED_Pin */
  GPIO_InitStruct.Pin = TFT_LED_Pin;
  GPIO_InitStruct.Mode = GPIO_MODE_OUTPUT_PP;
  GPIO_InitStruct.Pull = GPIO_PULLUP;
  GPIO_InitStruct.Speed = GPIO_SPEED_FREQ_LOW;
  HAL_GPIO_Init(TFT_LED_GPIO_Port, &GPIO_InitStruct);

  /*Configure GPIO pin : IR_Pin */
  GPIO_InitStruct.Pin = IR_Pin;
  GPIO_InitStruct.Mode = GPIO_MODE_IT_FALLING;
  GPIO_InitStruct.Pull = GPIO_NOPULL;
  HAL_GPIO_Init(IR_GPIO_Port, &GPIO_InitStruct);

  /*Configure GPIO pin : SD_CS_Pin */
  GPIO_InitStruct.Pin = SD_CS_Pin;
  GPIO_InitStruct.Mode = GPIO_MODE_OUTPUT_PP;
  GPIO_InitStruct.Pull = GPIO_PULLUP;
  GPIO_InitStruct.Speed = GPIO_SPEED_FREQ_LOW;
  HAL_GPIO_Init(SD_CS_GPIO_Port, &GPIO_InitStruct);

  /*Configure GPIO pin : WL_Pin */
  GPIO_InitStruct.Pin = WL_Pin;
  GPIO_InitStruct.Mode = GPIO_MODE_OUTPUT_PP;
  GPIO_InitStruct.Pull = GPIO_PULLDOWN;
  GPIO_InitStruct.Speed = GPIO_SPEED_FREQ_LOW;
  HAL_GPIO_Init(WL_GPIO_Port, &GPIO_InitStruct);

  /*Configure GPIO pin : TFT_DC_Pin */
  GPIO_InitStruct.Pin = TFT_DC_Pin;
  GPIO_InitStruct.Mode = GPIO_MODE_OUTPUT_PP;
  GPIO_InitStruct.Pull = GPIO_PULLUP;
  GPIO_InitStruct.Speed = GPIO_SPEED_FREQ_LOW;
  HAL_GPIO_Init(TFT_DC_GPIO_Port, &GPIO_InitStruct);

  /* EXTI interrupt init*/
  HAL_NVIC_SetPriority(EXTI15_10_IRQn, 5, 0);
  HAL_NVIC_EnableIRQ(EXTI15_10_IRQn);

}

void StartDefaultTask(void *argument)
{
  /* USER CODE BEGIN 5 */
  uint16_t analog_value;
  /* Infinite loop */
  for(;;)
  {
    if(NEC_Read(&nec)) nec_ready = true;
    HAL_ADC_Start(&hadc1);
    HAL_ADC_PollForConversion(&hadc1, HAL_MAX_DELAY);
    analog_value = HAL_ADC_GetValue(&hadc1);
    adc_to_serve(analog_value);
    osDelay(1);
  }
  /* USER CODE END 5 */
}

void StartServerTask(void *argument)
{
  /* USER CODE BEGIN StartServerTask */
  /* Infinite loop */
  for(;;)
  {
#if ESP_MODE == 1
    Server_Start();
#elif ESP_MODE == 2
    SoftAP_Start();
    DelayMS(1000);
#endif
    osDelay(1);
  }
  /* USER CODE END StartServerTask */
}

void StartDHT(void *argument)
{
  /* USER CODE BEGIN StartDHT */
  char msgt[40], msgh[40], checkt[40] = {0}, checkh[40] = {0};
  char msg[100];
  /* Infinite loop */
  for(;;)
  {
    if(screen_state) {
      DHT_Read();
      snprintf(msgt, 40, "T: %.2f", tCelsius);
      snprintf(msgh, 40, "H: %.2f", RH);
      if(strcmp(msgt, checkt)) {
        memcpy(checkt, msgt, 40);
        ST7735_FillRectangle(0, 0, 127, 17, ST7735_BLACK);
        ST7735_WriteString(0, 0, msgt, Font_11x18, ST7735_GREEN, ST7735_BLACK);
      }
      if(strcmp(msgh, checkh)) {
        memcpy(checkh, msgh, 40);
        ST7735_FillRectangle(0, 20, 127, 17, ST7735_BLACK);
        ST7735_WriteString(0, 20, msgh, Font_11x18, ST7735_GREEN, ST7735_BLACK);
      }
    }
    else {
      if(strlen(checkt)) memset(checkt, 0, 40);
      if(strlen(checkh)) memset(checkh, 0, 40);
    }
    NEC_Handle();
    osDelay(1000);
  }
  /* USER CODE END StartDHT */
}

void StartLCDTask(void *argument)
{
  /* USER CODE BEGIN StartLCDTask */
  /* Infinite loop */
  for(;;)
  {
    if(qr_text_counter == 0) {
      set_tardis();
    }
    osDelay(300);
  }
  /* USER CODE END StartLCDTask */
}

void HAL_TIM_PeriodElapsedCallback(TIM_HandleTypeDef *htim)
{
  if (htim->Instance == TIM5) {
    HAL_IncTick();
  }
}

void Error_Handler(void)
{
  /* USER CODE BEGIN Error_Handler_Debug */
  /* User can add his own implementation to report the HAL error return state */
  __disable_irq();
  HAL_GPIO_WritePin(LD2_GPIO_Port, LD2_Pin, GPIO_PIN_SET);
  while (1)
  {
  }
  /* USER CODE END Error_Handler_Debug */
}
